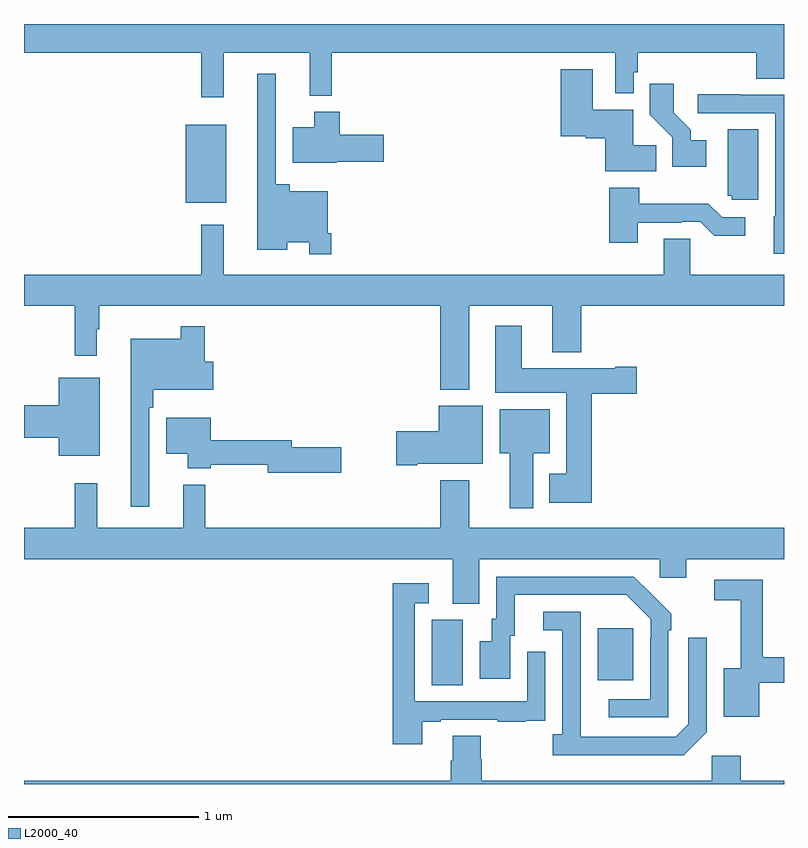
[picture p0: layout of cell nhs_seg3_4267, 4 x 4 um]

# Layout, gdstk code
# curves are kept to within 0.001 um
import gdstk
lib = gdstk.Library(unit=1e-6, precision=1e-09)
def R(c, l, rs):  # rectangles x0, y0, x1, y1
    for r in rs: c.add(gdstk.rectangle(r[:2], r[2:], *l))
def P(c, l, *ps):  # polygons
    for p in ps: c.add(gdstk.Polygon(p, *l))
L2000_40 = (2000, 40)

nhs_seg3_4267 = lib.new_cell('nhs_seg3_4267')
R(nhs_seg3_4267, L2000_40, [(339.146,698.92,339.31,699.264), (340.019,698.945,340.207,699.22), (337.85,701.459,338.065,701.869)])
P(nhs_seg3_4267, L2000_40, [(337,702.248),(337.933,702.248),(337.933,702.015),(338.051,702.015),(338.051,702.248),(338.504,702.248),(338.504,702.023),(338.621,702.023),(338.621,702.248),(340.113,702.248),(340.113,702.035),(340.209,702.035),(340.209,702.147),(340.229,702.147),(340.229,702.248),(340.853,702.248),(340.853,702.112),(341,702.112),(341,702.4),(337,702.4)],
  [(340.328,701.762),(340.207,701.762),(340.207,701.95),(339.994,701.95),(339.994,702.163),(339.824,702.163),(339.824,701.81),(339.957,701.81),(339.957,701.798),(340.058,701.798),(340.058,701.624),(340.328,701.624)],
  [(338.618,701.299),(338.598,701.299),(338.598,701.521),(338.399,701.521),(338.399,701.557),(338.325,701.557),(338.325,702.139),(338.228,702.139),(338.228,701.213),(338.386,701.213),(338.386,701.252),(338.502,701.252),(338.502,701.187),(338.618,701.187)],
  [(340.591,701.788),(340.51,701.788),(340.51,701.843),(340.42,701.933),(340.42,702.085),(340.294,702.085),(340.294,701.922),(340.413,701.803),(340.413,701.648),(340.591,701.648)],
  [(341,702.027),(340.769,702.027),(340.769,702.03),(340.545,702.03),(340.545,701.931),(340.953,701.931),(340.953,701.388),(340.946,701.388),(340.946,701.192),(341,701.192)],
  [(338.646,701.675),(338.893,701.675),(338.893,701.817),(338.663,701.817),(338.663,701.938),(338.528,701.938),(338.528,701.857),(338.414,701.857),(338.414,701.669),(338.646,701.669)],
  [(340.864,701.845),(340.703,701.845),(340.703,701.496),(340.725,701.496),(340.725,701.475),(340.864,701.475)],
  [(340.231,701.355),(340.46,701.355),(340.46,701.358),(340.56,701.358),(340.633,701.285),(340.795,701.285),(340.795,701.382),(340.674,701.382),(340.601,701.455),(340.239,701.455),(340.239,701.539),(340.079,701.539),(340.079,701.25),(340.231,701.25)],
  [(339.343,700.916),(339.779,700.916),(339.779,700.673),(339.932,700.673),(339.932,700.916),(341,700.916),(341,701.08),(340.506,701.08),(340.506,701.27),(340.367,701.27),(340.367,701.08),(338.05,701.08),(338.05,701.344),(337.933,701.344),(337.933,701.08),(337,701.08),(337,700.916),(337.267,700.916),(337.267,700.653),(337.384,700.653),(337.384,700.793),(337.396,700.793),(337.396,700.916),(339.191,700.916),(339.191,700.475),(339.343,700.475)],
  [(339.989,700.454),(340.225,700.454),(340.225,700.596),(340.112,700.596),(340.112,700.588),(339.619,700.588),(339.619,700.813),(339.479,700.813),(339.479,700.46),(339.854,700.46),(339.854,700.033),(339.764,700.033),(339.764,699.881),(339.989,699.881)],
  [(337.659,700.379),(337.679,700.379),(337.679,700.475),(337.996,700.475),(337.996,700.623),(337.952,700.623),(337.952,700.81),(337.824,700.81),(337.824,700.744),(337.562,700.744),(337.562,699.858),(337.659,699.858)],
  [(337.399,700.537),(337.184,700.537),(337.184,700.394),(337,700.394),(337,700.222),(337.184,700.222),(337.184,700.127),(337.399,700.127)],
  [(339.07,700.085),(339.415,700.085),(339.415,700.39),(339.182,700.39),(339.182,700.256),(338.958,700.256),(338.958,700.078),(339.07,700.078)],
  [(339.679,700.142),(339.766,700.142),(339.766,700.372),(339.503,700.372),(339.503,700.142),(339.557,700.142),(339.557,699.852),(339.679,699.852)],
  [(338.671,700.172),(338.41,700.172),(338.41,700.208),(337.984,700.208),(337.984,700.327),(337.748,700.327),(337.748,700.139),(337.862,700.139),(337.862,700.061),(337.984,700.061),(337.984,700.08),(338.282,700.08),(338.282,700.037),(338.671,700.037)],
  [(339.397,699.584),(340.347,699.584),(340.347,699.486),(340.486,699.486),(340.486,699.584),(341,699.584),(341,699.748),(339.343,699.748),(339.343,700),(339.191,700),(339.191,699.748),(337.955,699.748),(337.955,699.976),(337.838,699.976),(337.838,699.748),(337.385,699.748),(337.385,699.982),(337.267,699.982),(337.267,699.748),(337,699.748),(337,699.584),(339.257,699.584),(339.257,699.349),(339.397,699.349)],
  [(340.392,699.209),(340.407,699.209),(340.407,699.297),(340.21,699.492),(339.486,699.492),(339.486,699.27),(339.461,699.27),(339.461,699.151),(339.398,699.151),(339.398,698.955),(339.559,698.955),(339.559,699.18),(339.583,699.18),(339.583,699.396),(340.171,699.396),(340.299,699.267),(340.299,699.167),(340.296,699.167),(340.296,698.847),(340.077,698.847),(340.077,698.751),(340.392,698.751)],
  [(340.869,698.932),(341,698.932),(341,699.068),(340.889,699.068),(340.889,699.474),(340.632,699.474),(340.632,699.366),(340.772,699.366),(340.772,699.01),(340.682,699.01),(340.682,698.753),(340.869,698.753)],
  [(339.097,698.727),(339.193,698.727),(339.193,698.739),(339.493,698.739),(339.493,698.727),(339.641,698.727),(339.641,698.733),(339.743,698.733),(339.743,698.842),(339.744,698.842),(339.744,699.097),(339.648,699.097),(339.648,698.835),(339.057,698.835),(339.057,699.351),(339.13,699.351),(339.13,699.457),(338.941,699.457),(338.941,698.61),(339.097,698.61)],
  [(340.593,698.673),(340.593,699.169),(340.497,699.169),(340.497,698.715),(340.431,698.649),(339.931,698.649),(339.93,699.306),(339.732,699.306),(339.732,699.21),(339.834,699.21),(339.834,698.662),(339.783,698.662),(339.783,698.552),(340.472,698.552)],
  [(339.405,698.529),(339.405,698.654),(339.257,698.654),(339.257,698.522),(339.245,698.522),(339.245,698.416),(337,698.416),(337,698.4),(341,698.4),(341,698.416),(340.772,698.416),(340.772,698.548),(340.62,698.548),(340.62,698.416),(339.41,698.416),(339.41,698.529)])

lib.write_gds('nhs_seg3_4267.gds')
